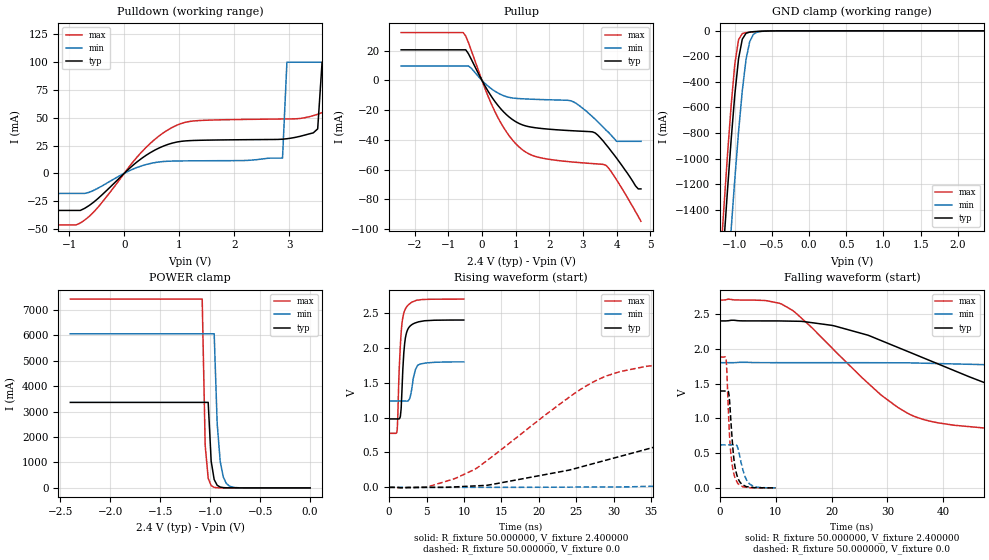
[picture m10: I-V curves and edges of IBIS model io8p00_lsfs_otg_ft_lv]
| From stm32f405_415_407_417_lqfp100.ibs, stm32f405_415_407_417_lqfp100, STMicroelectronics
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|   Model io8p00_lsfs_otg_ft_lv
[Model]  io8p00_lsfs_otg_ft_lv
Model_type I/O
Polarity   Non-Inverting
Enable   Active-Low
Vinl =   0.720000V
Vinh =   1.680000V
Vmeas =  1.200000V
Cref =   50.000000pF
Rref =   100.000000M
Vref =   0.0V
C_comp   7.971100pF   7.737700pF   8.264100pF
[Temperature Range]   25.000000   0.125000k   -40.000000
[Pullup Reference]   2.400000V   1.800000V   2.700000V
[Pulldown Reference]   0.0V   0.0V   0.0V
[POWER Clamp Reference]   2.400000V   1.800000V   2.700000V
[GND Clamp Reference]   0.0V   0.0V   0.0V
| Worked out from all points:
|   slope of the pulldown table from 0 to 0.36 V, typ, clamps not added: 24.1 ohm
|   slope of the pullup table from 0 to 0.36 V, typ, clamps not added: 26.8 ohm
|   GND clamp passes 1 mA (typ) near -0.52 V on its own axis
|   POWER clamp passes 1 mA (typ) near -0.81 V on its own axis
|   rising waveform, R_fixture 50.000000, V_fixture 2.400000: 20-80 % time 477ps typ, 592ps min, 489ps max; typ from 0.981 V to 2.4 V
|   rising waveform, R_fixture 50.000000, V_fixture 0.0: 20-80 % time 30.9ns typ, 82ns min, 14.2ns max; typ from 0 V to 1.39 V
|   falling waveform, R_fixture 50.000000, V_fixture 2.400000: 20-80 % time 28.5ns typ, 70.3ns min, 15.5ns max; typ from 2.4 V to 0.981 V
|   falling waveform, R_fixture 50.000000, V_fixture 0.0: 20-80 % time 913ps typ, 1.27ns min, 797ps max; typ from 1.39 V to 0 V
[Pulldown]
|Voltage   I(typ)   I(min)   I(max)
-2.4V     -33.44mA   -18.12mA   -46.52mA
-800mV    -33.44mA   -18.12mA   -44.78mA
1.04V     28.81mA    11.14mA    44.91mA
2.88V     30.71mA    13.65mA    48.89mA
2.96V     31.11mA    100mA      48.94mA
3.52V     40mA       100mA      53.15mA
3.6V      100mA      100mA      54.66mA
3.92V     100mA      100mA      60mA
4V        100mA      100mA      100mA
4.4V      100mA      100mA      100mA
4.48V     100mA      100mA      1A
4.8V      100mA      100mA      1A
[Pullup]
|Voltage   I(typ)   I(min)   I(max)
-2.4V     20.56mA    9.686mA    32.17mA
-560mV    20.56mA    9.686mA    32.17mA
-400mV    17.87mA    9.686mA    25.31mA
320mV     -12.14mA   -6.322mA   -17.91mA
960mV     -27.18mA   -12mA      -41.54mA
1.52V     -31.65mA   -12.71mA   -50.67mA
2.64V     -33.82mA   -13.73mA   -54.81mA
3.36V     -35.34mA   -26.1mA    -56.1mA
3.68V     -43.1mA    -33.4mA    -57.12mA
4V        -52.4mA    -41mA      -67mA
4.56V     -71mA      -41mA      -88.3mA
4.72V     -73mA      -41mA      -94.8mA
[GND_clamp]
|Voltage   I(typ)   I(min)   I(max)
-2.4V     -9.766A    -9.942A    -9.572A
-1.2V     -2.124A    -2.851A    -1.855A
-1.15V    -1.682A    -2.408A    -1.408A
-1.1V     -1.256A    -1.975A    -979.8mA
-1.05V    -854.9mA   -1.556A    -584.5mA
-1V       -496.5mA   -1.158A    -257.5mA
-950mV    -217.7mA   -789.6mA   -69.52mA
-900mV    -65.57mA   -469.8mA   -21.5mA
-850mV    -19.64mA   -226.4mA   -13.56mA
-800mV    -9.753mA   -84.21mA   -10.47mA
-700mV    -4.923mA   -9.884mA   -5.807mA
2.35V     0A         0A         0A
[POWER_clamp]
|Voltage   I(typ)   I(min)   I(max)
-2.4V     3.365A     6.064A     7.43A
-1.08V    3.365A     6.064A     7.43A
-1.05V    3.365A     6.064A     1.669A
-1.02V    3.365A     6.064A     375mA
-990mV    1.047A     6.064A     84.24mA
-960mV    325.6mA    6.064A     18.93mA
-930mV    101.3mA    2.529A     4.252mA
-900mV    31.51mA    1.055A     955.2uA
-870mV    9.804mA    440.1mA    214.6uA
-840mV    3.05mA     183.6mA    74uA
-720mV    28.58uA    5.557mA    74uA
0V        0A         0A         0A
[Ramp]
| variable   typ   min   max
dV/dt_r  0.83538/30.87827n   0.36567/82.44543n   1.12860/14.17351n
dV/dt_f  0.85169/28.51039n   0.33204/72.06161n   1.15501/15.47388n
R_load = 50.000000
[Rising Waveform]
R_fixture= 50.000000
V_fixture= 2.400000
V_fixture_min= 1.800000
V_fixture_max= 2.700000
|time   V(typ)   V(min)   V(max)
0s        981.3mV    1.239V     774.8mV
1.061ns   981.2mV    1.239V     815mV
1.141ns   980.9mV    1.239V     974.8mV
1.341ns   983.2mV    1.239V     1.687V
1.562ns   1.086V     1.239V     2.156V
1.942ns   1.905V     1.239V     2.492V
2.182ns   2.151V     1.237V     2.562V
2.783ns   2.312V     1.282V     2.636V
3.824ns   2.371V     1.752V     2.686V
9.97ns    2.4V       1.8V       2.7V
[Rising Waveform]
R_fixture= 50.000000
V_fixture= 0.0
V_fixture_min= 0.0
V_fixture_max= 0.0
|time   V(typ)   V(min)   V(max)
0s        3.299uV    1.724uV    7.414uV
5.005ns   -281.7uV   -688.8uV   4.285mV
11.51ns   20.85mV    -38.54uV   262.6mV
24.52ns   260.9mV    3.536mV    1.33V
29.03ns   391.5mV    5.86mV     1.598V
41.54ns   760.4mV    36.52mV    1.812V
62.06ns   1.213V     102.2mV    1.868V
78.58ns   1.331V     184.9mV    1.88V
165.7ns   1.391V     548.3mV    1.881V
249.2ns   1.392V     617.9mV    1.881V
[Falling Waveform]
R_fixture= 50.000000
V_fixture= 2.400000
V_fixture_min= 1.800000
V_fixture_max= 2.700000
|time   V(typ)   V(min)   V(max)
0s        2.4V       1.8V       2.7V
11.01ns   2.399V     1.8V       2.644V
20.52ns   2.328V     1.8V       1.974V
31.53ns   2.03V      1.798V     1.175V
36.04ns   1.881V     1.793V     992.8mV
42.04ns   1.683V     1.781V     899.4mV
60.06ns   1.224V     1.72V      814.5mV
85.09ns   1.056V     1.571V     786mV
158.7ns   989.4mV    1.293V     775.2mV
249.2ns   981.3mV    1.239V     774.8mV
[Falling Waveform]
R_fixture= 50.000000
V_fixture= 0.0
V_fixture_min= 0.0
V_fixture_max= 0.0
|time   V(typ)   V(min)   V(max)
0s        1.392V     617.9mV    1.881V
1.081ns   1.393V     617.9mV    1.851V
1.522ns   1.379V     617.9mV    1.076V
1.842ns   1.1V       617.5mV    585.3mV
2.402ns   480.6mV    619.1mV    231.5mV
2.763ns   271.1mV    622.1mV    126.6mV
3.524ns   88.8mV     460.8mV    44.48mV
4.484ns   26.15mV    161.5mV    10.8mV
5.285ns   11.8mV     55.96mV    3.012mV
9.97ns    3.299uV    1.724uV    7.414uV
